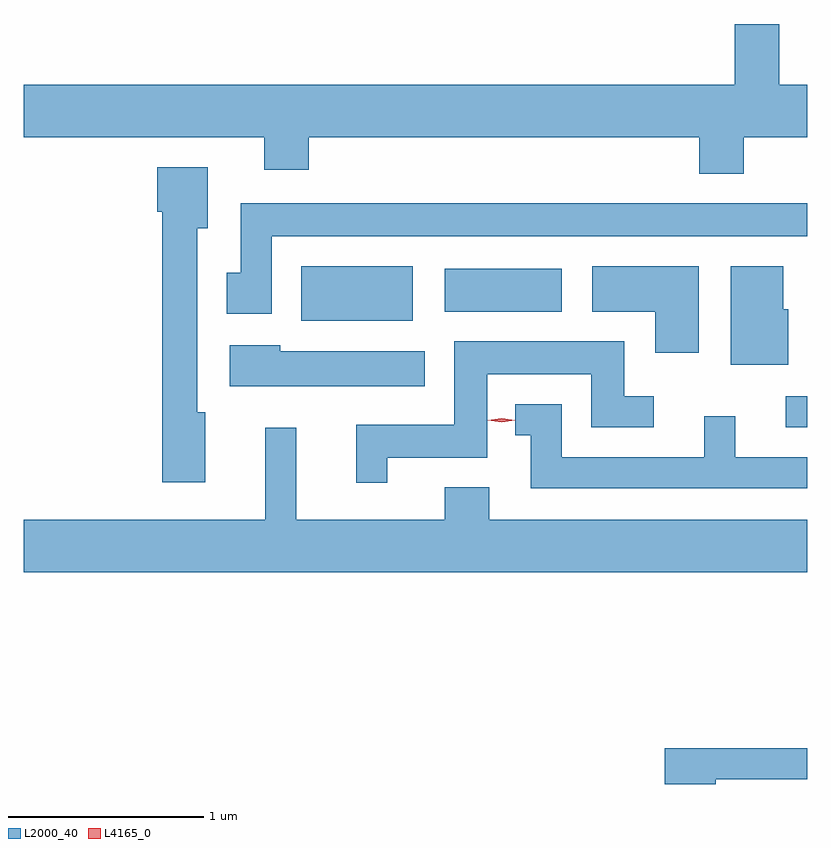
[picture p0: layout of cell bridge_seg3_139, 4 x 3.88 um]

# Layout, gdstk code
import gdstk
lib = gdstk.Library(unit=1e-6, precision=1e-09)
def R(c, l, rs):  # rectangles x0, y0, x1, y1
    for r in rs: c.add(gdstk.rectangle(r[:2], r[2:], *l))
def P(c, l, *ps):  # polygons
    for p in ps: c.add(gdstk.Polygon(p, *l))
L2000_40 = (2000, 40)
L4165_0 = (4165, 0)

bridge_seg3_139 = lib.new_cell('bridge_seg3_139')
R(bridge_seg3_139, L2000_40, [(763.853,1208.896,763.963,1209.054), (761.381,1209.441,761.949,1209.719), (762.111,1209.486,762.709,1209.704)])
P(bridge_seg3_139, L2000_40, [(763.639,1210.376),(763.963,1210.376),(763.963,1210.644),(763.819,1210.644),(763.819,1210.954),(763.591,1210.954),(763.591,1210.644),(759.963,1210.644),(759.963,1210.376),(761.191,1210.376),(761.191,1210.211),(761.419,1210.211),(761.419,1210.376),(763.411,1210.376),(763.411,1210.191),(763.639,1210.191)],
  [(760.889,1208.974),(760.849,1208.974),(760.849,1209.911),(760.904,1209.911),(760.904,1210.224),(760.646,1210.224),(760.646,1209.996),(760.671,1209.996),(760.671,1208.616),(760.889,1208.616)],
  [(761.229,1209.871),(763.963,1209.871),(763.963,1210.039),(761.071,1210.039),(761.071,1209.684),(761.001,1209.684),(761.001,1209.476),(761.229,1209.476)],
  [(763.409,1209.719),(762.866,1209.719),(762.866,1209.486),(763.186,1209.486),(763.186,1209.276),(763.409,1209.276)],
  [(763.864,1209.499),(763.839,1209.499),(763.839,1209.719),(763.571,1209.719),(763.571,1209.216),(763.864,1209.216)],
  [(761.819,1208.741),(762.329,1208.741),(762.329,1209.166),(762.861,1209.166),(762.861,1208.896),(763.178,1208.896),(763.178,1209.054),(763.029,1209.054),(763.029,1209.334),(762.161,1209.334),(762.161,1208.909),(761.661,1208.909),(761.661,1208.613),(761.819,1208.613)],
  [(762.009,1209.284),(761.274,1209.284),(761.274,1209.314),(761.016,1209.314),(761.016,1209.106),(762.009,1209.106)],
  [(763.963,1208.744),(763.594,1208.744),(763.594,1208.953),(763.436,1208.953),(763.436,1208.744),(762.709,1208.744),(762.709,1209.014),(762.473,1209.014),(762.473,1208.856),(762.551,1208.856),(762.551,1208.586),(763.963,1208.586)],
  [(763.963,1208.424),(762.339,1208.424),(762.339,1208.589),(762.111,1208.589),(762.111,1208.424),(761.354,1208.424),(761.354,1208.893),(761.196,1208.893),(761.196,1208.424),(759.963,1208.424),(759.963,1208.156),(763.963,1208.156)],
  [(763.494,1207.101),(763.963,1207.101),(763.963,1207.259),(763.236,1207.259),(763.236,1207.076),(763.494,1207.076)])
P(bridge_seg3_139, L4165_0, [(762.402,1208.923),(762.332,1208.932),(762.332,1208.933),(762.332,1208.933),(762.402,1208.943),(762.471,1208.933),(762.471,1208.933),(762.471,1208.932)])

lib.write_gds('bridge_seg3_139.gds')
